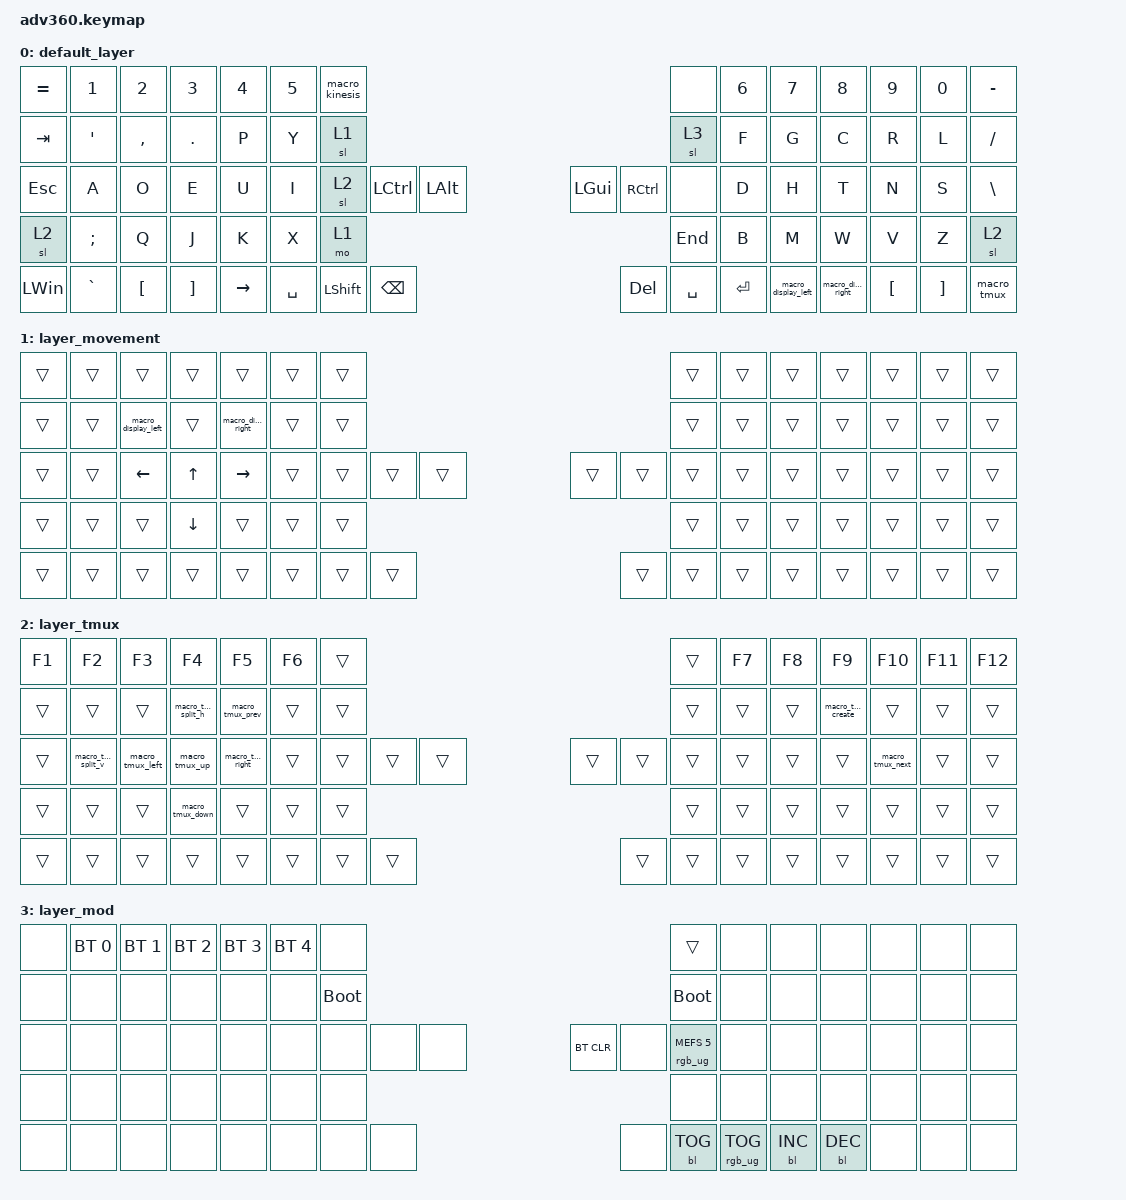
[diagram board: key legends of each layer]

/*
 * Copyright (c) 2020 The ZMK Contributors
 *
 * SPDX-License-Identifier: MIT
 */


/* THIS FILE WAS GENERATED!
 *
 * This file was generated automatically. You may or may not want to
 * edit it directly.
 */

#include <behaviors.dtsi>
#include <dt-bindings/zmk/keys.h>
#include <dt-bindings/zmk/bt.h>
#include <dt-bindings/zmk/rgb.h>
#include <dt-bindings/zmk/backlight.h>

/ {
  behaviors {
    #include "macros.dtsi"
    #include "version.dtsi"

    hm: homerow_mods {
        compatible = "zmk,behavior-hold-tap";
        label = "HOMEROW_MODS";
        #binding-cells = <2>;
        tapping-term-ms = <200>;
        quick_tap_ms = <175>;
        flavor = "tap-preferred";
        bindings = <&kp>, <&kp>;
    };
  };

    keymap {
        compatible = "zmk,keymap";


        default_layer {
            bindings = <
    &kp EQUAL            &kp N1            &kp N2             &kp N3     &kp N4  &kp N5            &macro_kinesis                                                                            &none  &kp N6               &kp N7                &kp N8    &kp N9    &kp N0      &kp MINUS
      &kp TAB  &kp SINGLE_QUOTE         &kp COMMA            &kp DOT      &kp P   &kp Y                     &sl 1                                                                            &sl 3   &kp F                &kp G                 &kp C     &kp R     &kp L      &kp SLASH
      &kp ESC             &kp A             &kp O              &kp E      &kp U   &kp I                     &sl 2       &kp LCTRL       &kp LALT                    &kp LGUI  &kp RCTRL      &none   &kp D                &kp H                 &kp T     &kp N     &kp S  &kp BACKSLASH
        &sl 2     &kp SEMICOLON             &kp Q              &kp J      &kp K   &kp X                                                    &mo 1                     &kp END                         &kp B                &kp M                 &kp W     &kp V     &kp Z          &sl 2
 &kp LEFT_WIN         &kp GRAVE  &kp LEFT_BRACKET  &kp RIGHT_BRACKET  &kp RIGHT                         &kp SPACE  &kp LEFT_SHIFT  &kp BACKSPACE                  &kp DELETE  &kp SPACE  &kp ENTER          &macro_display_left  &macro_display_right  &kp LBKT  &kp RBKT    &macro_tmux
            >;
        };

        layer_movement {
            bindings = <
 &trans  &trans               &trans    &trans                &trans  &trans            &trans                                                  &trans  &trans  &trans  &trans  &trans  &trans  &trans
 &trans  &trans  &macro_display_left    &trans  &macro_display_right  &trans            &trans                                                  &trans  &trans  &trans  &trans  &trans  &trans  &trans
 &trans  &trans             &kp LEFT    &kp UP             &kp RIGHT  &trans            &trans  &trans  &trans                  &trans  &trans  &trans  &trans  &trans  &trans  &trans  &trans  &trans
 &trans  &trans               &trans  &kp DOWN                &trans  &trans                            &trans                  &trans                  &trans  &trans  &trans  &trans  &trans  &trans
 &trans  &trans               &trans    &trans                &trans                    &trans  &trans  &trans                  &trans  &trans  &trans          &trans  &trans  &trans  &trans  &trans
            >;
        };

        layer_tmux {
            bindings = <
 &kp F1               &kp F2            &kp F3               &kp F4             &kp F5  &kp F6            &trans                                                  &trans  &kp F7  &kp F8              &kp F9           &kp F10  &kp F11  &kp F12
 &trans               &trans            &trans  &macro_tmux_split_h   &macro_tmux_prev  &trans            &trans                                                  &trans  &trans  &trans  &macro_tmux_create            &trans   &trans   &trans
 &trans  &macro_tmux_split_v  &macro_tmux_left       &macro_tmux_up  &macro_tmux_right  &trans            &trans  &trans  &trans                  &trans  &trans  &trans  &trans  &trans              &trans  &macro_tmux_next   &trans   &trans
 &trans               &trans            &trans     &macro_tmux_down             &trans  &trans                            &trans                  &trans                  &trans  &trans              &trans            &trans   &trans   &trans
 &trans               &trans            &trans               &trans             &trans                    &trans  &trans  &trans                  &trans  &trans  &trans          &trans              &trans            &trans   &trans   &trans
            >;
        };

        layer_mod {
            bindings = <
  &none  &bt BT_SEL 0  &bt BT_SEL 1  &bt BT_SEL 2  &bt BT_SEL 3  &bt BT_SEL 4                  &none                                                                          &trans   &none       &none       &none   &none   &none   &none
  &none         &none         &none         &none         &none         &none            &bootloader                                                                     &bootloader   &none       &none       &none   &none   &none   &none
  &none         &none         &none         &none         &none         &none                  &none   &none   &none                  &bt BT_CLR       &none  &rgb_ug RGB_MEFS_CMD 5   &none       &none       &none   &none   &none   &none
  &none         &none         &none         &none         &none         &none                                  &none                       &none                                       &none       &none       &none   &none   &none   &none
  &none         &none         &none         &none         &none                                &none   &none   &none                       &none  &bl BL_TOG         &rgb_ug RGB_TOG          &bl BL_INC  &bl BL_DEC   &none   &none   &none
            >;
        };

    };
};
